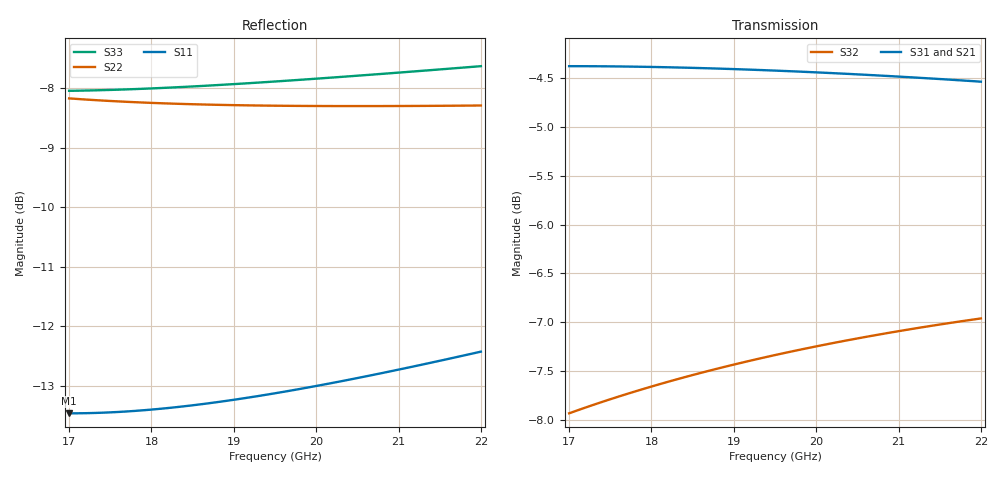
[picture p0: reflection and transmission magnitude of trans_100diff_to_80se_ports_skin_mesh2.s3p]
#  GHZ S DB R 50.0
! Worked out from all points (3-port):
!   51 points, 17 GHz to 22 GHz, reference 50 ohm
!   strongest paths, dB at 17 GHz, 18.2 GHz, 19.5 GHz, 20.8 GHz, 22 GHz:
!     S31: -4.4, -4.4, -4.4, -4.5, -4.5
!     S21: -4.5, -4.5, -4.5, -4.5, -4.5
!     S32: -7.9, -7.6, -7.3, -7.1, -7.0
!   lowest |S11| = -13.5 dB at 17 GHz (marker M1), VSWR 1.54, Z = 75.2 + j8.65 ohm
!   |S11| at or under -10 dB: start of sweep to end of sweep
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17  -13.46 15.0  -4.54 -173.9  -4.37 5.8
    -4.54 -173.9  -8.17 95.3  -7.94 72.6
    -4.37 5.8  -7.94 72.6  -8.04 92.2
17.3  -13.46 11.1  -4.53 -176.1  -4.38 3.7
      -4.53 -176.1  -8.20 92.4  -7.85 70.6
      -4.38 3.7  -7.85 70.6  -8.03 89.4
17.6  -13.44 7.4  -4.51 -178.2  -4.38 1.7
      -4.51 -178.2  -8.22 89.6  -7.76 68.6
      -4.38 1.7  -7.76 68.6  -8.02 86.7
18.2  -13.37 0.4  -4.49 177.6  -4.39 -2.2
      -4.49 177.6  -8.25 84.3  -7.61 64.7
      -4.39 -2.2  -7.61 64.7  -7.99 81.6
18.8  -13.27 -6.2  -4.48 173.6  -4.40 -6.0
      -4.48 173.6  -8.28 79.4  -7.48 61.1
      -4.40 -6.0  -7.48 61.1  -7.94 76.8
19.5  -13.12 -13.3  -4.47 169.1  -4.42 -10.3
      -4.47 169.1  -8.29 74.1  -7.34 57.1
      -4.42 -10.3  -7.34 57.1  -7.88 71.7
20.1  -12.98 -19.1  -4.46 165.4  -4.44 -13.8
      -4.46 165.4  -8.30 69.9  -7.23 53.8
      -4.44 -13.8  -7.23 53.8  -7.83 67.7
20.7  -12.81 -24.4  -4.46 161.7  -4.47 -17.3
      -4.46 161.7  -8.30 66.0  -7.14 50.6
      -4.47 -17.3  -7.14 50.6  -7.77 63.9
21.3  -12.64 -29.5  -4.46 158.1  -4.50 -20.7
      -4.46 158.1  -8.29 62.4  -7.05 47.5
      -4.50 -20.7  -7.05 47.5  -7.70 60.4
22  -12.42 -35.1  -4.47 154.1  -4.53 -24.5
    -4.47 154.1  -8.29 58.5  -6.96 44.1
    -4.53 -24.5  -6.96 44.1  -7.63 56.5
